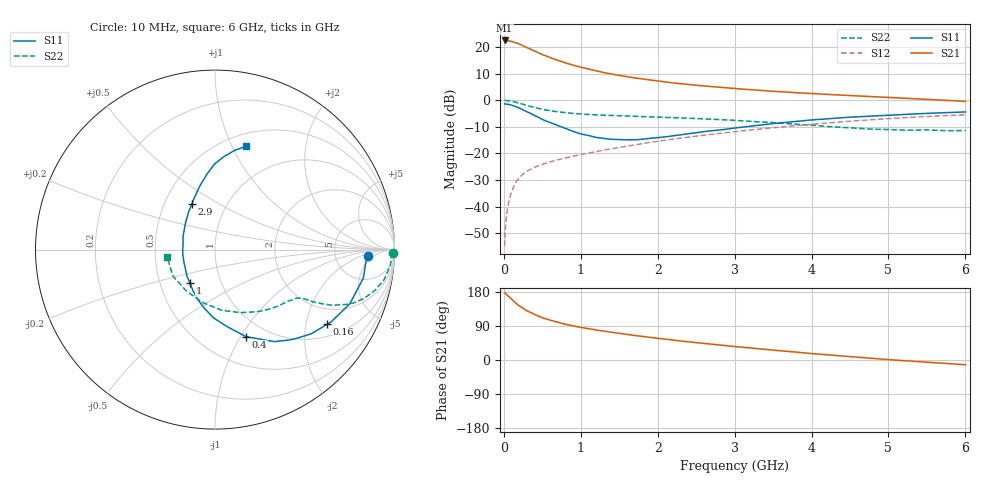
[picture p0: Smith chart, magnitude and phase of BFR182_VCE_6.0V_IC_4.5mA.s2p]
! Infineon Technologies  Discrete & RF Semiconductors
! BFR182
! VCE =  6.0 V,  IC =  4.5 mA
! Common Emitter S-Parameters:  Nov 2015
# GHz  S  MA  R  50
!  f  S11  S21  S12  S22
! GHz  MAG  ANG  MAG  ANG  MAG  ANG  MAG  ANG
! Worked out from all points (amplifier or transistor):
!   210 points, 10 MHz to 6 GHz, reference 50 ohm
!   highest |S21| = 22.4 dB at 10 MHz (marker M1)
!   |S21| within 3 dB of that: start of sweep to 324.5 MHz
!   unconditionally stable (mu >= 1): 1.143 GHz to 2.936 GHz
!   at 185 MHz: K = 0.30, MSG = 25.5 dB, |S12| = -29.7 dB
!   at 1.52 GHz: K = 1.05, MAG = 12.1 dB, |S12| = -17.6 dB
!   at 6 GHz: K = 0.88, MSG = 2.5 dB, |S12| = -5.5 dB
!   S11 on the Smith chart (normalised r, x): 10 MHz: 12, -3; 160 MHz: 1.39, -2.65; 400 MHz: 0.80, -1.06; 1 GHz: 0.71, -0.28; 2.9 GHz: 0.69, +0.38; 6 GHz: 0.63, +1.13
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0.01  0.8524 -2.4  13.25 177.8  0.0018 92.5  0.9904 -1.1
0.02  0.8435 -4.5  13.01 175.7  0.004 84.5  0.9845 -2.1
0.05  0.8417 -10.9  13.19 170.0  0.0097 83.9  0.981 -5.2
0.095  0.8111 -20.9  12.75 161.7  0.0179 79.5  0.9593 -9.6
0.15  0.7621 -31.9  12.09 150.9  0.0276 73.5  0.9188 -14.4
0.16  0.7506 -33.7  11.94 149.4  0.029 72.6  0.9101 -15.1
0.2  0.7122 -41.2  11.42 143.1  0.0347 69.9  0.8767 -17.9
0.26  0.6498 -50.9  10.35 134.9  0.0419 65.9  0.8262 -21.1
0.3  0.61 -57.2  9.72 129.9  0.0462 64.7  0.7944 -22.6
0.4  0.5156 -70.3  8.417 120.0  0.055 61.3  0.7252 -25.3
0.5  0.4324 -81.4  7.209 111.4  0.0621 59.9  0.6702 -26.8
0.6  0.3811 -91.1  6.313 105.1  0.069 59.0  0.6326 -27.7
0.8  0.2933 -109.2  5.014 94.4  0.0818 59.0  0.5818 -28.6
1  0.2321 -127.1  4.169 86.0  0.0948 60.1  0.5488 -29.5
1.02  0.2286 -128.7  4.104 85.4  0.0961 60.2  0.5466 -29.6
1.4  0.1838 -162.7  3.09 73.2  0.1221 61.1  0.5156 -32.6
2.02  0.1983 151.2  2.264 56.9  0.1704 60.5  0.4807 -39.4
2.9  0.2865 116.5  1.699 37.6  0.2466 55.9  0.4248 -53.9
3.1  0.3111 111.6  1.614 33.7  0.2649 54.3  0.4088 -58.1
4.1  0.435 94.6  1.307 15.5  0.3619 45.0  0.3298 -87.2
5.1  0.5301 83.1  1.108 -0.3  0.4589 33.0  0.2763 -128.9
6  0.6006 73.2  0.949 -12.5  0.53 20.2  0.2691 -170.7
